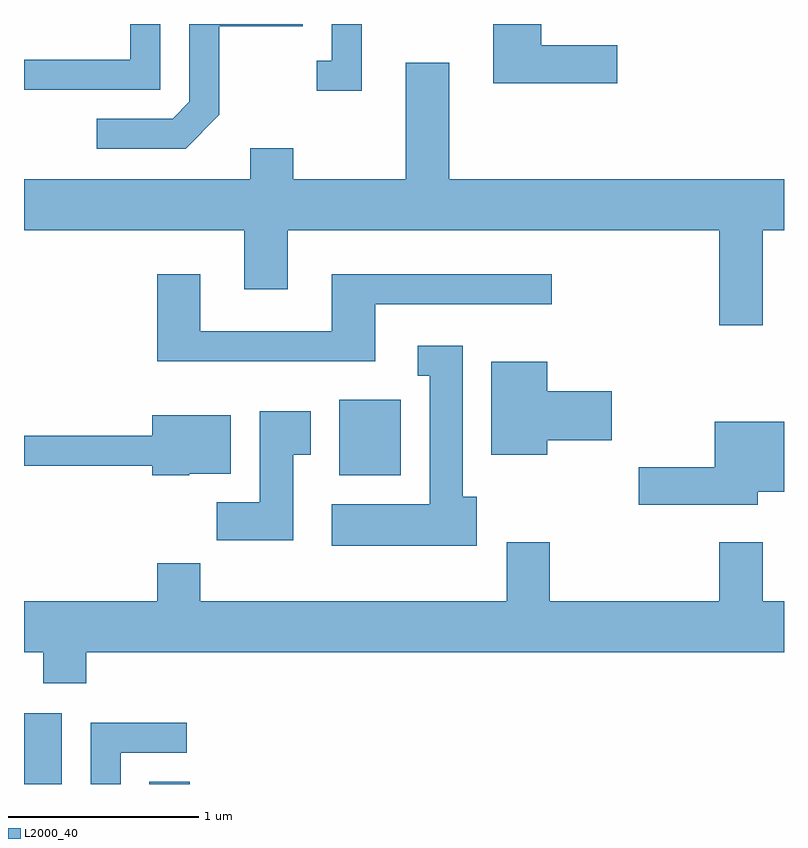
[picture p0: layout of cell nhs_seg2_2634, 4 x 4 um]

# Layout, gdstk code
import gdstk
lib = gdstk.Library(unit=1e-6, precision=1e-09)
def R(c, l, rs):  # rectangles x0, y0, x1, y1
    for r in rs: c.add(gdstk.rectangle(r[:2], r[2:], *l))
def P(c, l, *ps):  # polygons
    for p in ps: c.add(gdstk.Polygon(p, *l))
L2000_40 = (2000, 40)

nhs_seg2_2634 = lib.new_cell('nhs_seg2_2634')
R(nhs_seg2_2634, L2000_40, [(261.611,1089.802,261.809,1090.174), (262.271,1089.802,262.484,1089.814), (263.271,1091.426,263.594,1091.824)])
P(nhs_seg2_2634, L2000_40, [(263.389,1093.802),(263.231,1093.802),(263.231,1093.609),(263.153,1093.609),(263.153,1093.451),(263.389,1093.451)],
  [(264.734,1093.689),(264.334,1093.689),(264.334,1093.802),(264.081,1093.802),(264.081,1093.491),(264.734,1093.491)],
  [(262.329,1093.802),(262.171,1093.802),(262.171,1093.614),(261.611,1093.614),(261.611,1093.456),(262.329,1093.456)],
  [(262.639,1093.324),(262.639,1093.791),(263.079,1093.791),(263.079,1093.802),(262.481,1093.802),(262.481,1093.392),(262.394,1093.304),(261.993,1093.304),(261.993,1093.146),(262.462,1093.146)],
  [(265.499,1092.716),(265.611,1092.716),(265.611,1092.984),(263.849,1092.984),(263.849,1093.599),(263.621,1093.599),(263.621,1092.984),(263.029,1092.984),(263.029,1093.149),(262.801,1093.149),(262.801,1092.984),(261.611,1092.984),(261.611,1092.716),(262.771,1092.716),(262.771,1092.406),(262.999,1092.406),(262.999,1092.716),(265.271,1092.716),(265.271,1092.216),(265.499,1092.216)],
  [(263.459,1092.326),(264.388,1092.326),(264.388,1092.484),(263.231,1092.484),(263.231,1092.184),(262.539,1092.184),(262.539,1092.484),(262.311,1092.484),(262.311,1092.026),(263.459,1092.026)],
  [(263.994,1091.314),(263.919,1091.314),(263.919,1092.109),(263.683,1092.109),(263.683,1091.951),(263.746,1091.951),(263.746,1091.274),(263.231,1091.274),(263.231,1091.056),(263.994,1091.056)],
  [(264.364,1091.611),(264.704,1091.611),(264.704,1091.869),(264.364,1091.869),(264.364,1092.024),(264.071,1092.024),(264.071,1091.536),(264.364,1091.536)],
  [(263.029,1091.536),(263.119,1091.536),(263.119,1091.764),(262.851,1091.764),(262.851,1091.284),(262.626,1091.284),(262.626,1091.086),(263.029,1091.086)],
  [(262.48,1091.436),(262.699,1091.436),(262.699,1091.744),(262.286,1091.744),(262.286,1091.634),(261.611,1091.634),(261.611,1091.476),(262.286,1091.476),(262.286,1091.426),(262.48,1091.426)],
  [(265.474,1091.341),(265.611,1091.341),(265.611,1091.709),(265.246,1091.709),(265.246,1091.469),(264.846,1091.469),(264.846,1091.271),(265.474,1091.271)],
  [(261.939,1090.496),(265.611,1090.496),(265.611,1090.764),(265.499,1090.764),(265.499,1091.074),(265.271,1091.074),(265.271,1090.764),(264.379,1090.764),(264.379,1091.074),(264.151,1091.074),(264.151,1090.764),(262.539,1090.764),(262.539,1090.964),(262.311,1090.964),(262.311,1090.764),(261.611,1090.764),(261.611,1090.496),(261.711,1090.496),(261.711,1090.331),(261.939,1090.331)],
  [(262.119,1089.966),(262.468,1089.966),(262.468,1090.124),(261.961,1090.124),(261.961,1089.802),(262.119,1089.802)])

lib.write_gds('nhs_seg2_2634.gds')
